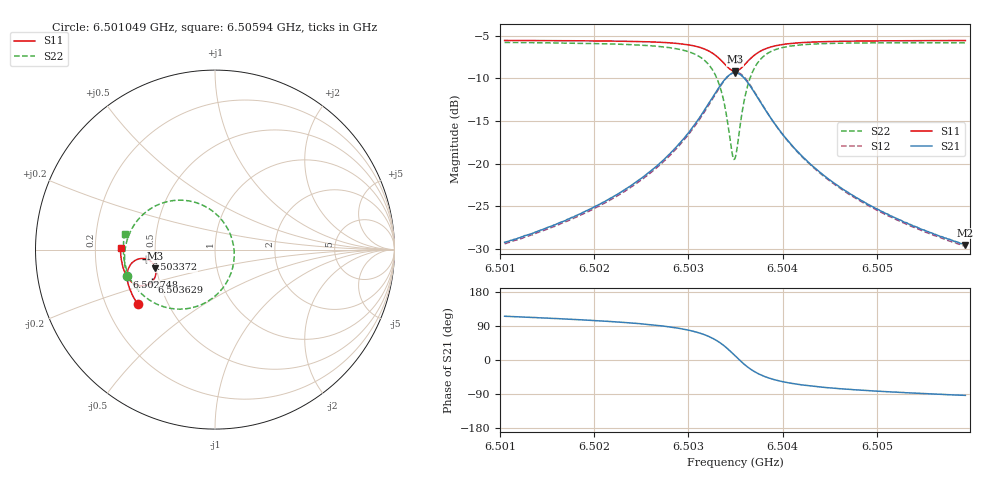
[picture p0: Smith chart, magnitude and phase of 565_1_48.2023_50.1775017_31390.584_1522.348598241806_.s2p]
#  HZ  S  RI  R  50.00
! Rohde & Schwarz Vector Network Analyzer
! Rohde-Schwarz,ZNB20-2Port,1311601062101988,3.16
! Created: UTC 3/20/2024, 12:01:21 PM
! freq[Hz]  re:S11  im:S11  re:S21  im:S21  re:S12  im:S12  re:S22  im:S22
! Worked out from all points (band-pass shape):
!   401 points, 6.501049 GHz to 6.50594 GHz, reference 50 ohm
!   highest |S21| = -9.35 dB at 6.503494 GHz (marker M1); lowest = -29.6 dB at 6.50594 GHz (marker M2)
!   |S21| within 3 dB of the highest: 6.50325 GHz to 6.50374 GHz (489.2 kHz wide, 0.00752 % of centre)
!   lowest |S11| = -9.2 dB at 6.503494 GHz (marker M3), VSWR 2.07, Z = 24.6 - j5.78 ohm
!   |S11| at or under -10 dB: nowhere
!   |S22| runs from -19.5 to -5.8 dB; largest |S21 - S12| = 0.012
!   S11 on the Smith chart (normalised r, x): 6.501049 GHz: 0.34, -0.28; 6.502748 GHz: 0.33, -0.14; 6.503372 GHz: 0.44, -0.05; 6.503629 GHz: 0.45, -0.19; 6.50594 GHz: 0.31, +0.01
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6.5010486e9  -0.4308 -0.3038  -0.0149 0.0311  -0.0131 0.0312  -0.4918 -0.1468
6.501868e9  -0.4653 -0.2423  -0.0139 0.0493  -0.0117 0.0488  -0.5038 -0.0582
6.5023327e9  -0.4813 -0.2003  -0.0107 0.07  -0.00785 0.0687  -0.4993 0.00964
6.5026873e9  -0.4891 -0.16  -0.00148 0.0994  0.00208 0.0971  -0.4791 0.0833
6.5027485e9  -0.4895 -0.1516  0.00175 0.1067  0.00541 0.104  -0.4719 0.0995
6.5029686e9  -0.4859 -0.1166  0.024 0.1422  0.0276 0.138  -0.4257 0.1703
6.5031276e9  -0.4712 -0.0844  0.0634 0.1783  0.0662 0.1727  -0.3489 0.2342
6.5032743e9  -0.4332 -0.0546  0.1455 0.2072  0.1461 0.2013  -0.1996 0.2754
6.5033722e9  -0.3864 -0.0517  0.2373 0.1908  0.2374 0.1865  -0.0407 0.2328
6.5034578e9  -0.3432 -0.081  0.3161 0.1159  0.3189 0.1122  0.0854 0.0854
6.5034822e9  -0.335 -0.0952  0.3296 0.0839  0.3332 0.0795  0.1026 0.0251
6.5034945e9  -0.3322 -0.1032  0.3341 0.0668  0.3378 0.0619  0.1065 -0.00669
6.5035189e9  -0.3292 -0.1194  0.3376 0.0323  0.3419 0.0258  0.1044 -0.0704
6.5035556e9  -0.3313 -0.1437  0.3303 -0.0183  0.3342 -0.027  0.077 -0.1598
6.503629e9  -0.3537 -0.1812  0.2834 -0.0954  0.2838 -0.1068  -0.0334 -0.2842
6.5037391e9  -0.3997 -0.2016  0.1959 -0.1412  0.1909 -0.151  -0.2108 -0.3314
6.503898e9  -0.4471 -0.1922  0.1114 -0.1372  0.1044 -0.1425  -0.3629 -0.2826
6.5040692e9  -0.4752 -0.1707  0.0656 -0.1162  0.0593 -0.1185  -0.437 -0.2158
6.5043138e9  -0.4962 -0.1409  0.0346 -0.0906  0.0299 -0.0913  -0.4814 -0.1419
6.5046807e9  -0.5119 -0.1019  0.0154 -0.0667  0.012 -0.0664  -0.5043 -0.0664
6.5051332e9  -0.5214 -0.0596  0.00517 -0.0495  0.00293 -0.0489  -0.5106 -0.000546
6.5059403e9  -0.5265 0.00943  -0.00192 -0.0332  -0.00334 -0.0326  -0.5033 0.0865
